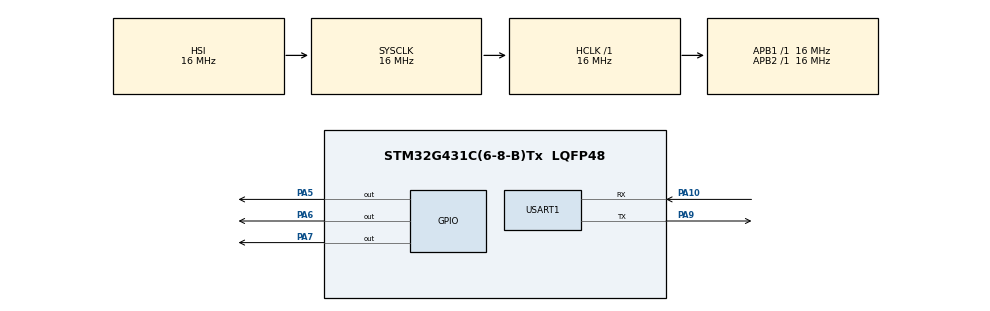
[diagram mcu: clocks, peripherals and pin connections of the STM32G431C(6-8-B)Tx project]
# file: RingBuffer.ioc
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Mcu.Family=STM32G4
Mcu.Name=STM32G431C(6-8-B)Tx
Mcu.Package=LQFP48
NVIC.PriorityGroup=NVIC_PRIORITYGROUP_4
NVIC.USART1_IRQn=true\:0\:0\:false\:false\:true\:true\:true\:true
PA10.Mode=Asynchronous
PA10.Signal=USART1_RX
PA13.Mode=Serial_Wire
PA13.Signal=SYS_JTMS-SWDIO
PA14.Mode=Serial_Wire
PA14.Signal=SYS_JTCK-SWCLK
PA5.Signal=GPIO_Output
PA6.Signal=GPIO_Output
PA7.Signal=GPIO_Output
PA9.Mode=Asynchronous
PA9.Signal=USART1_TX
ProjectManager.HeapSize=0x200
ProjectManager.StackSize=0x400
ProjectManager.TargetToolchain=CMake
RCC.AHBFreq_Value=16000000
RCC.APB1Freq_Value=16000000
RCC.APB1TimFreq_Value=16000000
RCC.APB2Freq_Value=16000000
RCC.APB2TimFreq_Value=16000000
RCC.CortexFreq_Value=16000000
RCC.EXTERNAL_CLOCK_VALUE=12288000
RCC.HCLKFreq_Value=16000000
RCC.HSE_VALUE=8000000
RCC.HSI48_VALUE=48000000
RCC.HSI_VALUE=16000000
RCC.LSE_VALUE=32768
RCC.SYSCLKFreq_VALUE=16000000
RCC.USBFreq_Value=64000000
RCC.VCOOutputFreq_Value=128000000
USART1.VirtualMode-Asynchronous=VM_ASYNC
VP_SYS_VS_DBSignals.Mode=DisableDeadBatterySignals
board=custom

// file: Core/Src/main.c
/* USER CODE BEGIN Header */
/**
  ******************************************************************************
  * @file           : main.c
  * @brief          : Main program body
  ******************************************************************************
  * @attention
  *
  * Copyright (c) 2026 STMicroelectronics.
  * All rights reserved.
  *
  * This software is licensed under terms that can be found in the LICENSE file
  * in the root directory of this software component.
  * If no LICENSE file comes with this software, it is provided AS-IS.
  *
  ******************************************************************************
  */
/* USER CODE END Header */
#include "main.h"
#include "usart.h"
#include "gpio.h"

/* USER CODE BEGIN PD */
uint8_t readBuffer[10];
/* USER CODE END PD */

/* USER CODE BEGIN PV */
#include "command.h"
/* USER CODE END PV */

void SystemClock_Config(void);

/* USER CODE BEGIN 0 */
void HAL_UARTEx_RxEventCallback(UART_HandleTypeDef *huart, uint16_t Size){
  if (huart == &huart1){
    Command_Write(readBuffer, Size);
    HAL_UARTEx_ReceiveToIdle_IT(&huart1, readBuffer, sizeof(readBuffer));
  }
}
/* USER CODE END 0 */

int main(void)
{

  /* MCU Configuration--------------------------------------------------------*/

  /* Reset of all peripherals, Initializes the Flash interface and the Systick. */
  HAL_Init();

  /* Configure the system clock */
  SystemClock_Config();

  /* Initialize all configured peripherals */
  MX_GPIO_Init();
  MX_USART1_UART_Init();
  /* USER CODE BEGIN 2 */
  HAL_UARTEx_ReceiveToIdle_IT(&huart1, readBuffer, sizeof(readBuffer));
  uint8_t command[50];
  int commandLength = 0;
  /* USER CODE END 2 */

  /* Infinite loop */
  /* USER CODE BEGIN WHILE */
  while (1)
  {
    while (1)
    {
      commandLength = Command_GetCommand(command);
      if (commandLength != 0){
        HAL_UART_Transmit(&huart1, command, commandLength, HAL_MAX_DELAY);
        for (int i = 2; i < commandLength - 1; i += 2){
          GPIO_PinState state = GPIO_PIN_SET;
          if (command[i + 1] == 0x00){
            state = GPIO_PIN_RESET;
          }
          if (command[i] == 0x01){
            HAL_GPIO_WritePin(GPIOA, GPIO_Pin_5, SET);
          }else if (command[i] == 0x02){
            HAL_GPIO_WritePin(GPIOA, GPIO_Pin_6, SET);
          }else if (command[i] == 0x03){
            HAL_GPIO_WritePin(GPIOA, GPIO_Pin_7, SET);
          }

        }
      }

    /* USER CODE END WHILE */

  }
}

void SystemClock_Config(void)
{
  RCC_OscInitTypeDef RCC_OscInitStruct = {0};
  RCC_ClkInitTypeDef RCC_ClkInitStruct = {0};

  /** Configure the main internal regulator output voltage
  */
  HAL_PWREx_ControlVoltageScaling(PWR_REGULATOR_VOLTAGE_SCALE1);

  /** Initializes the RCC Oscillators according to the specified parameters
  * in the RCC_OscInitTypeDef structure.
  */
  RCC_OscInitStruct.OscillatorType = RCC_OSCILLATORTYPE_HSI;
  RCC_OscInitStruct.HSIState = RCC_HSI_ON;
  RCC_OscInitStruct.HSICalibrationValue = RCC_HSICALIBRATION_DEFAULT;
  RCC_OscInitStruct.PLL.PLLState = RCC_PLL_NONE;
  if (HAL_RCC_OscConfig(&RCC_OscInitStruct) != HAL_OK)
  {
    Error_Handler();
  }

  /** Initializes the CPU, AHB and APB buses clocks
  */
  RCC_ClkInitStruct.ClockType = RCC_CLOCKTYPE_HCLK|RCC_CLOCKTYPE_SYSCLK
                              |RCC_CLOCKTYPE_PCLK1|RCC_CLOCKTYPE_PCLK2;
  RCC_ClkInitStruct.SYSCLKSource = RCC_SYSCLKSOURCE_HSI;
  RCC_ClkInitStruct.AHBCLKDivider = RCC_SYSCLK_DIV1;
  RCC_ClkInitStruct.APB1CLKDivider = RCC_HCLK_DIV1;
  RCC_ClkInitStruct.APB2CLKDivider = RCC_HCLK_DIV1;

  if (HAL_RCC_ClockConfig(&RCC_ClkInitStruct, FLASH_LATENCY_0) != HAL_OK)
  {
    Error_Handler();
  }
}

void Error_Handler(void)
{
  __disable_irq();
  while (1)
  {
  }
}
